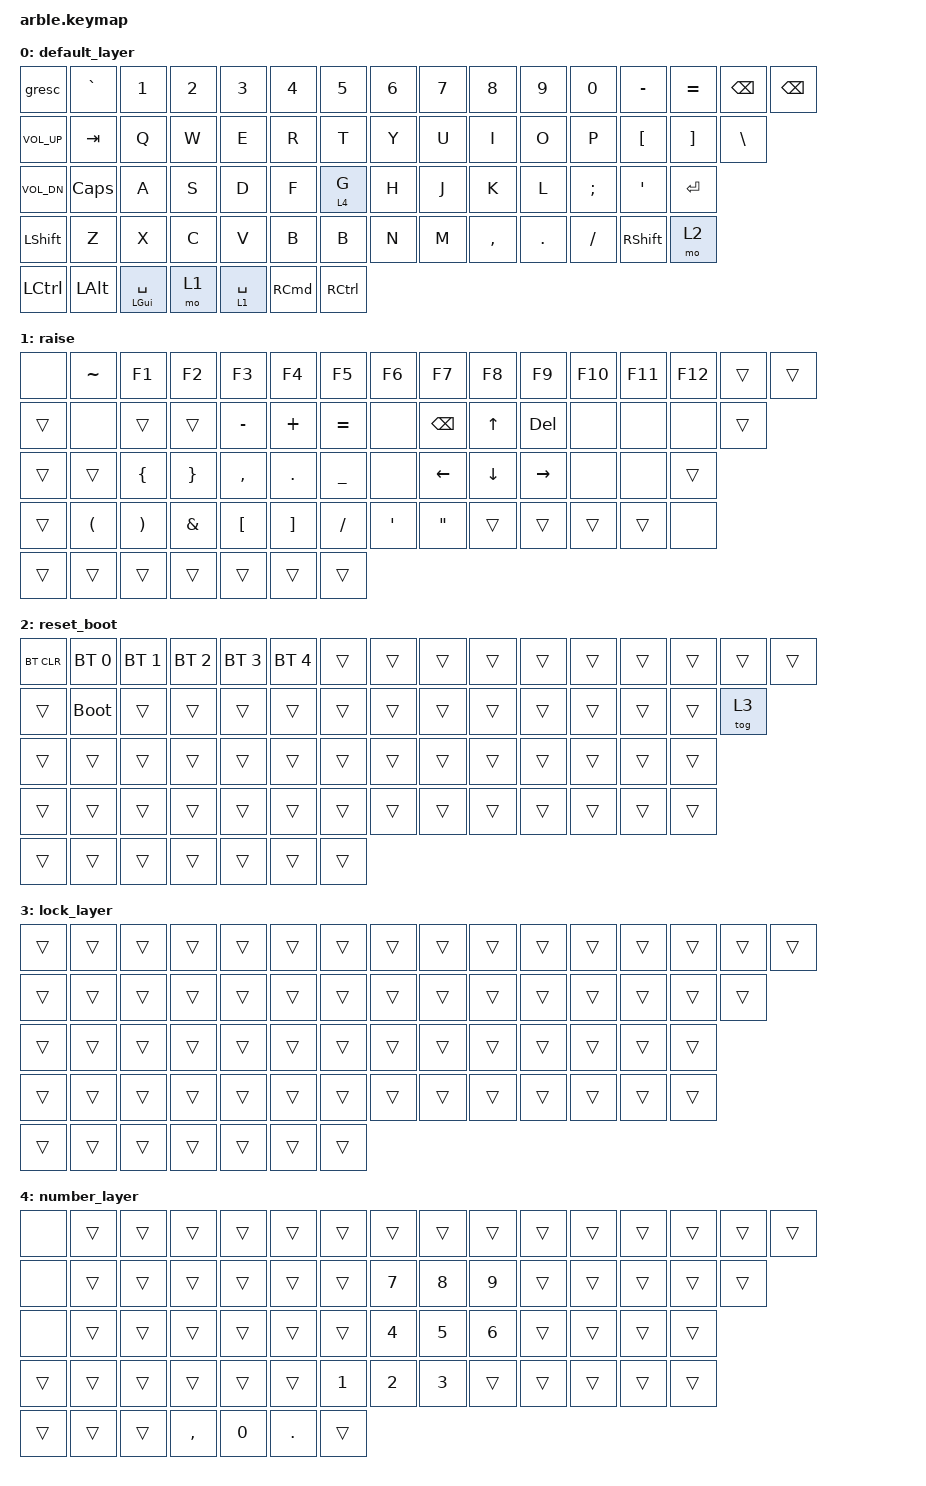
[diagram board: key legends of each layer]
/*
 * Copyright (c) 2021 Nick Winans
 *
 * SPDX-License-Identifier: MIT
 */

#include <behaviors.dtsi>
#include <dt-bindings/zmk/bt.h>
#include <dt-bindings/zmk/keys.h>

/ {
    keymap {
        compatible = "zmk,keymap";

        default_layer {
            bindings = <
&gresc          &kp GRAVE     &kp N1              &kp N2  &kp N3       &kp N4             &kp N5     &kp N6  &kp N7  &kp N8     &kp N9   &kp N0    &kp MINUS  &kp EQUAL  &kp BACKSPACE  &kp BACKSPACE
&kp C_VOL_UP    &kp TAB       &kp Q               &kp W   &kp E        &kp R              &kp T      &kp Y   &kp U   &kp I      &kp O    &kp P     &kp LBKT   &kp RBKT   &kp BACKSLASH
&kp C_VOL_DN    &kp CAPSLOCK  &kp A               &kp S   &kp D        &kp F              &lt 4 G    &kp H   &kp J   &kp K      &kp L    &kp SEMI  &kp SQT    &kp RET
&kp LEFT_SHIFT  &kp Z         &kp X               &kp C   &kp V        &kp B              &kp B      &kp N   &kp M   &kp COMMA  &kp DOT  &kp FSLH  &kp RSHFT  &mo 2
&kp LCTRL       &kp LEFT_ALT  &mt LEFT_GUI SPACE  &mo 1   &lt 1 SPACE  &kp RIGHT_COMMAND  &kp RCTRL
            >;
        };

        raise {
            bindings = <
&none   &kp TILDE             &kp F1                 &kp F2           &kp F3            &kp F4             &kp F5          &kp F6            &kp F7             &kp F8          &kp F9           &kp F10  &kp F11  &kp F12  &trans  &trans
&trans  &none                 &trans                 &trans           &kp MINUS         &kp PLUS           &kp EQUAL       &none             &kp BACKSPACE      &kp UP_ARROW    &kp DELETE       &none    &none    &none    &trans
&trans  &trans                &kp LEFT_BRACE         &kp RIGHT_BRACE  &kp COMMA         &kp DOT            &kp UNDERSCORE  &none             &kp LEFT_ARROW     &kp DOWN_ARROW  &kp RIGHT_ARROW  &none    &none    &trans
&trans  &kp LEFT_PARENTHESIS  &kp RIGHT_PARENTHESIS  &kp AMPERSAND    &kp LEFT_BRACKET  &kp RIGHT_BRACKET  &kp SLASH       &kp SINGLE_QUOTE  &kp DOUBLE_QUOTES  &trans          &trans           &trans   &trans   &none
&trans  &trans                &trans                 &trans           &trans            &trans             &trans
            >;
        };

        reset_boot {
            bindings = <
&bt BT_CLR  &bt BT_SEL 0  &bt BT_SEL 1  &bt BT_SEL 2  &bt BT_SEL 3  &bt BT_SEL 4  &trans  &trans  &trans  &trans  &trans  &trans  &trans  &trans  &trans  &trans
&trans      &bootloader   &trans        &trans        &trans        &trans        &trans  &trans  &trans  &trans  &trans  &trans  &trans  &trans  &tog 3
&trans      &trans        &trans        &trans        &trans        &trans        &trans  &trans  &trans  &trans  &trans  &trans  &trans  &trans
&trans      &trans        &trans        &trans        &trans        &trans        &trans  &trans  &trans  &trans  &trans  &trans  &trans  &trans
&trans      &trans        &trans        &trans        &trans        &trans        &trans
            >;
        };

        lock_layer {
            bindings = <
&trans  &trans  &trans  &trans  &trans  &trans  &trans  &trans  &trans  &trans  &trans  &trans  &trans  &trans  &trans  &trans
&trans  &trans  &trans  &trans  &trans  &trans  &trans  &trans  &trans  &trans  &trans  &trans  &trans  &trans  &trans
&trans  &trans  &trans  &trans  &trans  &trans  &trans  &trans  &trans  &trans  &trans  &trans  &trans  &trans
&trans  &trans  &trans  &trans  &trans  &trans  &trans  &trans  &trans  &trans  &trans  &trans  &trans  &trans
&trans  &trans  &trans  &trans  &trans  &trans  &trans
            >;
        };

        number_layer {
            bindings = <
&none   &trans  &trans  &trans     &trans        &trans   &trans        &trans        &trans        &trans        &trans  &trans  &trans  &trans  &trans  &trans
&none   &trans  &trans  &trans     &trans        &trans   &trans        &kp NUMBER_7  &kp NUMBER_8  &kp NUMBER_9  &trans  &trans  &trans  &trans  &trans
&none   &trans  &trans  &trans     &trans        &trans   &trans        &kp NUMBER_4  &kp NUMBER_5  &kp NUMBER_6  &trans  &trans  &trans  &trans
&trans  &trans  &trans  &trans     &trans        &trans   &kp NUMBER_1  &kp NUMBER_2  &kp NUMBER_3  &trans        &trans  &trans  &trans  &trans
&trans  &trans  &trans  &kp COMMA  &kp NUMBER_0  &kp DOT  &trans
            >;
        };
    };
};
